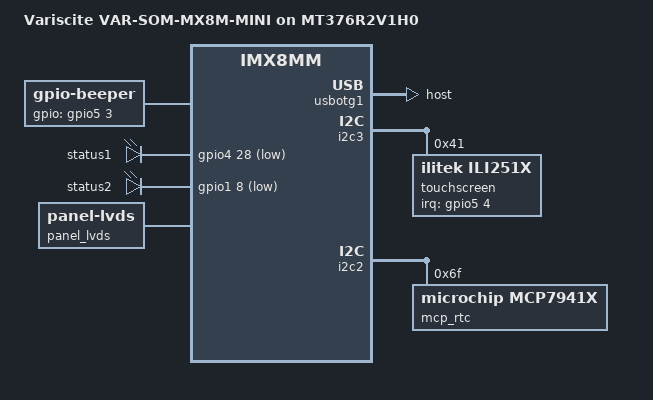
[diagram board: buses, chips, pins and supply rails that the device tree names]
// SPDX-License-Identifier: (GPL-2.0+ OR MIT)
/*
 * Copyright 2019 NXP
 * Copyright 2019-2025 Variscite Ltd.
 */

#include "imx8mm-var-som-symphony-m4.dts"

/ {
	model = "Variscite VAR-SOM-MX8M-MINI on MT376R2V1H0";

	beeper {
		compatible = "gpio-beeper";
		pinctrl-0 = <&pinctrl_beeper>;
		gpios = <&gpio5 3 GPIO_ACTIVE_HIGH>;
	};
	
	leds {
		compatible = "gpio-leds";
		pinctrl-names = "default";
		pinctrl-0 = <&pinctrl_gpio_led>;

		led-0 {
			label = "status1";
			gpios = <&gpio4 28 GPIO_ACTIVE_LOW>;
		};

		led-1 {
			label = "status2";
			gpios = <&gpio1 8 GPIO_ACTIVE_LOW>;
		};
	};
};

&pcie0 {
	status = "disabled";
};

&pcie0_refclk {
	status = "disabled";
};

&extcon_ptn5150 {
	status = "disabled";
};

&ft5x06_ts {
	status = "disabled";
};

&ov5640_mipi1 {
	status = "disabled";
};

&usbotg1 {
	dr_mode = "host";
};

&i2c3 {
	touchscreen@41 {
		compatible = "ilitek,ili251x";
		reg = <0x41>;
		pinctrl-names = "default";
		pinctrl-0 = <&pinctrl_extcon>;
		interrupt-parent = <&gpio5>;
		interrupts = <4 IRQ_TYPE_LEVEL_LOW>;
		#reset-gpios = <&gpio2 19 GPIO_ACTIVE_LOW>;
		#touchscreen-size-x;
		#touchscreen-size-y;
		#touchscreen-inverted-x;
		#touchscreen-inverted-y;
		#touchscreen-swapped-x-y;

		wakeup-source;
	};
};

&i2c2 {
	/* DS1337 RTC module */
	mcp_rtc: rtc@6f {
		compatible = "microchip,mcp7941x";
		reg = <0x6f>;
		status = "okay";
	};
};

&panel_lvds {
	compatible = "panel-lvds";
	data-mapping = "vesa-24";
	width-mm = <154>;
	height-mm = <87>;
};

&panel_lvds_timings {
	clock-frequency = <36000000>;
	hactive = <800>;
	vactive = <480>;
	hback-porch = <30>;
	hfront-porch = <30>;
	vback-porch = <29>;
	vfront-porch = <13>;
	hsync-len = <48>;
	vsync-len = <3>;
	hsync-active = <0>;
	vsync-active = <0>;
	de-active = <1>;
	pixelclk-active = <0>;
};

&backlight {
	default-brightness-level = <0>;
};

&iomuxc {
	pinctrl_beeper: beepergrp {
		fsl,pins = <
			MX8MM_IOMUXC_SPDIF_TX_GPIO5_IO3		0x14
		>;
	};
	
	pinctrl_gpio_led: gpioledgrp {
		fsl,pins = <
			MX8MM_IOMUXC_SAI3_RXFS_GPIO4_IO28		0x16
			MX8MM_IOMUXC_GPIO1_IO08_GPIO1_IO8		0x16
		>;
	};
};
